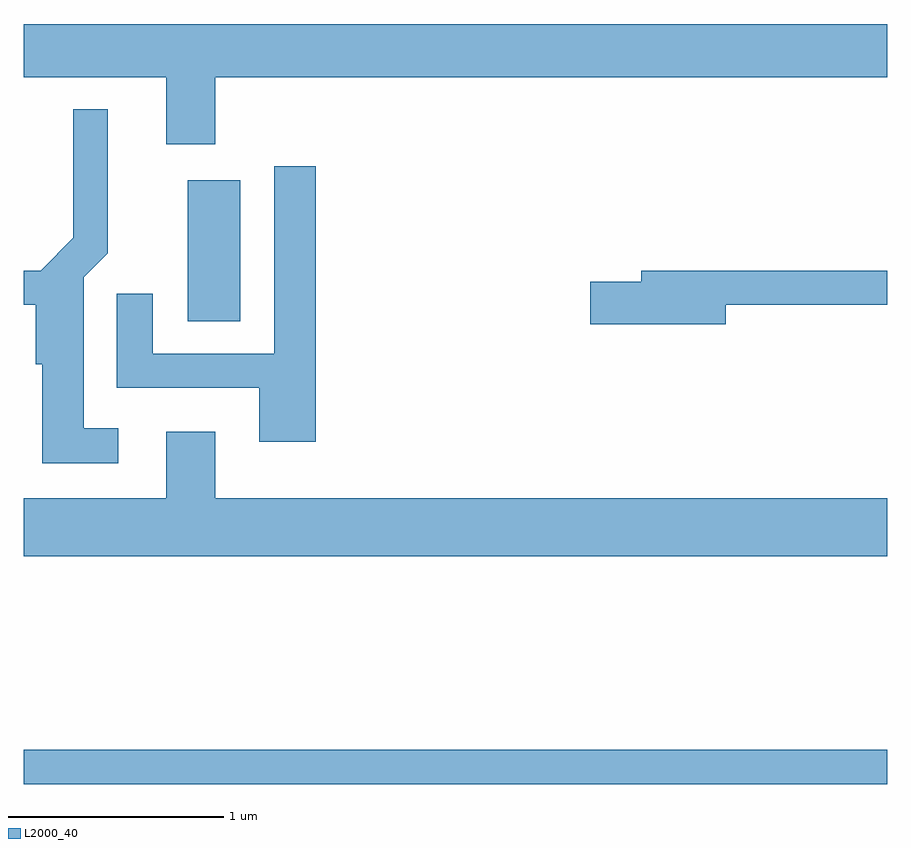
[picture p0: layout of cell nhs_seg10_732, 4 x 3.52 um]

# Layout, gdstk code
import gdstk
lib = gdstk.Library(unit=1e-6, precision=1e-09)
def R(c, l, rs):  # rectangles x0, y0, x1, y1
    for r in rs: c.add(gdstk.rectangle(r[:2], r[2:], *l))
def P(c, l, *ps):  # polygons
    for p in ps: c.add(gdstk.Polygon(p, *l))
L2000_40 = (2000, 40)

nhs_seg10_732 = lib.new_cell('nhs_seg10_732')
R(nhs_seg10_732, L2000_40, [(205.611,2195.001,209.611,2195.159), (206.371,2197.146,206.614,2197.799)])
P(nhs_seg10_732, L2000_40, [(206.499,2198.276),(209.611,2198.276),(209.611,2198.522),(205.611,2198.522),(205.611,2198.276),(206.271,2198.276),(206.271,2197.966),(206.499,2197.966)],
  [(206.048,2196.649),(205.889,2196.649),(205.889,2197.349),(205.999,2197.459),(205.999,2198.128),(205.841,2198.128),(205.841,2197.532),(205.689,2197.379),(205.611,2197.379),(205.611,2197.221),(205.666,2197.221),(205.666,2196.946),(205.696,2196.946),(205.696,2196.486),(206.048,2196.486)],
  [(206.964,2197.864),(206.771,2197.864),(206.771,2196.994),(206.209,2196.994),(206.209,2197.273),(206.041,2197.273),(206.041,2196.836),(206.701,2196.836),(206.701,2196.586),(206.964,2196.586)],
  [(208.864,2197.221),(209.611,2197.221),(209.611,2197.379),(208.471,2197.379),(208.471,2197.329),(208.236,2197.329),(208.236,2197.131),(208.864,2197.131)],
  [(209.611,2196.324),(206.499,2196.324),(206.499,2196.634),(206.271,2196.634),(206.271,2196.324),(205.611,2196.324),(205.611,2196.056),(209.611,2196.056)])

lib.write_gds('nhs_seg10_732.gds')
